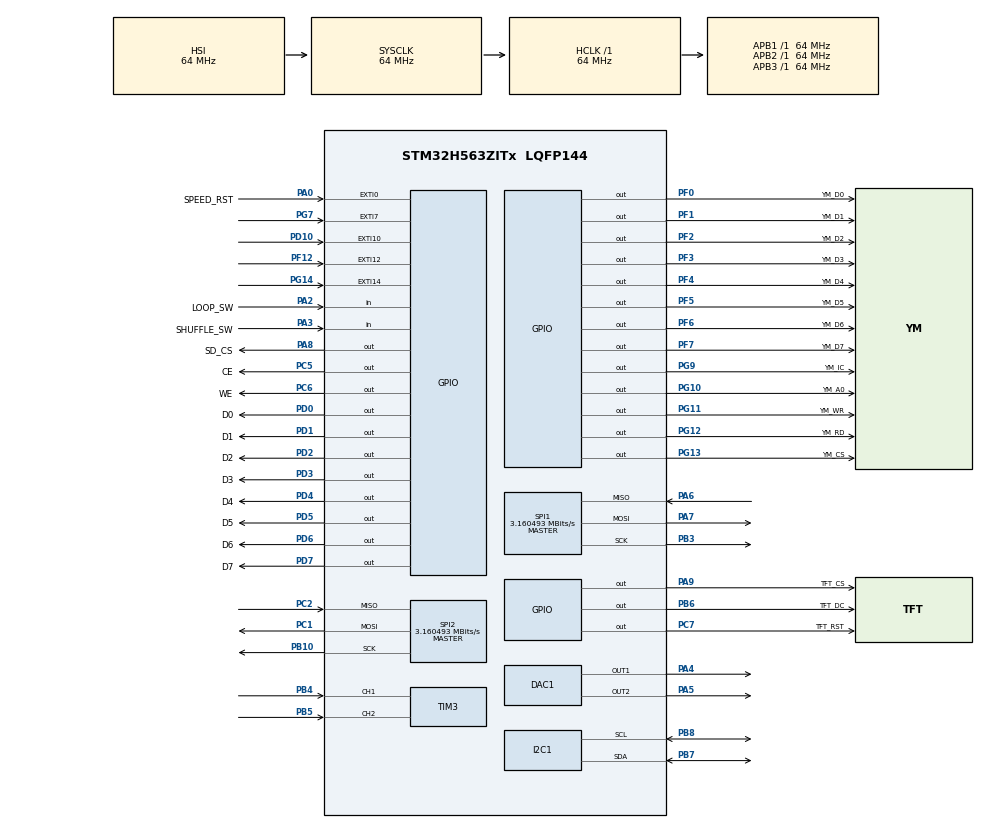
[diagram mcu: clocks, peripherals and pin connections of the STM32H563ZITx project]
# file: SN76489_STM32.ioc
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BOOTPATH.BootPathName=LEGACY
BOOTPATH.UserSelectedBootPath=LEGACY
CORTEX_M33_NS.userName=CORTEX_M33
DAC1.DAC_Channel-DAC_OUT1=DAC_CHANNEL_1
DAC1.DAC_Channel-DAC_OUT2=DAC_CHANNEL_2
DAC1.DAC_DMADoubleDataMode-DAC_OUT1=DISABLE
DAC1.DAC_Trigger-DAC_OUT1=DAC_TRIGGER_T4_TRGO
DAC1.DAC_Trigger-DAC_OUT2=DAC_TRIGGER_T4_TRGO
I2C1.Timing=0x10707DBC
Mcu.Family=STM32H5
Mcu.Name=STM32H563ZITx
Mcu.Package=LQFP144
NVIC.EXTI0_IRQn=true\:0\:0\:false\:false\:true\:true\:true\:true
NVIC.EXTI10_IRQn=true\:0\:0\:false\:false\:true\:true\:true\:true
NVIC.EXTI12_IRQn=true\:0\:0\:false\:false\:true\:true\:true\:true
NVIC.EXTI14_IRQn=true\:0\:0\:false\:false\:true\:true\:true\:true
NVIC.EXTI7_IRQn=true\:0\:0\:false\:false\:true\:true\:true\:true
NVIC.PriorityGroup=NVIC_PRIORITYGROUP_4
NVIC.TIM2_IRQn=true\:0\:0\:false\:false\:true\:true\:true\:true
NVIC.TIM4_IRQn=true\:0\:0\:false\:false\:true\:true\:true\:true
PA0.GPIO_Label=SPEED_RST
PA0.GPIO_ModeDefaultEXTI=GPIO_MODE_IT_FALLING
PA0.GPIO_PuPd=GPIO_PULLUP
PA0.Signal=GPXTI0
PA2.GPIO_Label=LOOP_SW
PA2.GPIO_PuPd=GPIO_PULLUP
PA2.Signal=GPIO_Input
PA3.GPIO_Label=SHUFFLE_SW
PA3.GPIO_PuPd=GPIO_PULLUP
PA3.Signal=GPIO_Input
PA4.Signal=COMP_DAC11_group
PA5.Signal=COMP_DAC12_group
PA6.Mode=Full_Duplex_Master
PA6.Signal=SPI1_MISO
PA7.Mode=Full_Duplex_Master
PA7.Signal=SPI1_MOSI
PA8.GPIO_Label=SD_CS
PA8.Signal=GPIO_Output
PA9.GPIO_Label=TFT_CS
PA9.Signal=GPIO_Output
PB10.Mode=Full_Duplex_Master
PB10.Signal=SPI2_SCK
PB3(JTDO/TRACESWO).Mode=Full_Duplex_Master
PB3(JTDO/TRACESWO).Signal=SPI1_SCK
PB4(NJTRST).Signal=S_TIM3_CH1
PB5.Signal=S_TIM3_CH2
PB6.GPIO_Label=TFT_DC
PB6.Signal=GPIO_Output
PB7.Mode=I2C
PB7.Signal=I2C1_SDA
PB8.Mode=I2C
PB8.Signal=I2C1_SCL
PC1.Mode=Full_Duplex_Master
PC1.Signal=SPI2_MOSI
PC2.Mode=Full_Duplex_Master
PC2.Signal=SPI2_MISO
PC5.GPIO_Label=CE
PC5.GPIO_Speed=GPIO_SPEED_FREQ_VERY_HIGH
PC5.Signal=GPIO_Output
PC6.GPIO_Label=WE
PC6.GPIO_Speed=GPIO_SPEED_FREQ_VERY_HIGH
PC6.Signal=GPIO_Output
PC7.GPIO_Label=TFT_RST
PC7.Signal=GPIO_Output
PD0.GPIO_Label=D0
PD0.GPIO_Speed=GPIO_SPEED_FREQ_VERY_HIGH
PD0.PinState=GPIO_PIN_RESET
PD0.Signal=GPIO_Output
PD1.GPIO_Label=D1
PD1.GPIO_Speed=GPIO_SPEED_FREQ_VERY_HIGH
PD1.Signal=GPIO_Output
PD10.GPIO_ModeDefaultEXTI=GPIO_MODE_IT_FALLING
PD10.GPIO_PuPd=GPIO_PULLUP
PD10.Signal=GPXTI10
PD2.GPIO_Label=D2
PD2.GPIO_Speed=GPIO_SPEED_FREQ_VERY_HIGH
PD2.Signal=GPIO_Output
PD3.GPIO_Label=D3
PD3.GPIO_Speed=GPIO_SPEED_FREQ_VERY_HIGH
PD3.Signal=GPIO_Output
PD4.GPIO_Label=D4
PD4.GPIO_Speed=GPIO_SPEED_FREQ_VERY_HIGH
PD4.Signal=GPIO_Output
PD5.GPIO_Label=D5
PD5.GPIO_Speed=GPIO_SPEED_FREQ_VERY_HIGH
PD5.Signal=GPIO_Output
PD6.GPIO_Label=D6
PD6.GPIO_Speed=GPIO_SPEED_FREQ_VERY_HIGH
PD6.Signal=GPIO_Output
PD7.GPIO_Label=D7
PD7.GPIO_Speed=GPIO_SPEED_FREQ_VERY_HIGH
PD7.Signal=GPIO_Output
PF0.GPIO_Label=YM_D0
PF0.Signal=GPIO_Output
PF1.GPIO_Label=YM_D1
PF1.Signal=GPIO_Output
PF12.GPIO_ModeDefaultEXTI=GPIO_MODE_IT_FALLING
PF12.GPIO_PuPd=GPIO_PULLUP
PF12.Signal=GPXTI12
PF2.GPIO_Label=YM_D2
PF2.Signal=GPIO_Output
PF3.GPIO_Label=YM_D3
PF3.Signal=GPIO_Output
PF4.GPIO_Label=YM_D4
PF4.Signal=GPIO_Output
PF5.GPIO_Label=YM_D5
PF5.Signal=GPIO_Output
PF6.GPIO_Label=YM_D6
PF6.Signal=GPIO_Output
PF7.GPIO_Label=YM_D7
PF7.Signal=GPIO_Output
PG10.GPIO_Label=YM_A0
PG10.Signal=GPIO_Output
PG11.GPIO_Label=YM_WR
PG11.Signal=GPIO_Output
PG12.GPIO_Label=YM_RD
PG12.Signal=GPIO_Output
PG13.GPIO_Label=YM_CS
PG13.Signal=GPIO_Output
PG14.GPIO_ModeDefaultEXTI=GPIO_MODE_IT_FALLING
PG14.GPIO_PuPd=GPIO_PULLUP
PG14.Signal=GPXTI14
PG7.GPIO_ModeDefaultEXTI=GPIO_MODE_IT_FALLING
PG7.GPIO_PuPd=GPIO_PULLUP
PG7.Signal=GPXTI7
PG9.GPIO_Label=YM_IC
PG9.Signal=GPIO_Output
PH0-OSC_IN(PH0).Mode=HSE-External-Oscillator
PH0-OSC_IN(PH0).Signal=RCC_OSC_IN
PH1-OSC_OUT(PH1).Mode=HSE-External-Oscillator
PH1-OSC_OUT(PH1).Signal=RCC_OSC_OUT
ProjectManager.HeapSize=0x200
ProjectManager.StackSize=0x400
ProjectManager.TargetToolchain=STM32CubeIDE
RCC.ADCFreq_Value=64000000
RCC.AHBFreq_Value=64000000
RCC.APB1Freq_Value=64000000
RCC.APB1TimFreq_Value=64000000
RCC.APB2Freq_Value=64000000
RCC.APB2TimFreq_Value=64000000
RCC.APB3Freq_Value=64000000
RCC.CSI_VALUE=4000000
RCC.CortexFreq_Value=64000000
RCC.DACLowPowerCLockSelection=RCC_DACLPCLKSOURCE_LSI
RCC.EPOD_VALUE=50000000
RCC.HCLKFreq_Value=64000000
RCC.HSE_VALUE=50000000
RCC.HSI48_VALUE=48000000
RCC.HSIDiv=RCC_HSI_DIV1
RCC.HSI_VALUE=64000000
RCC.LSE_VALUE=32768
RCC.LSIRC_VALUE=32000
RCC.PLL1P=4
RCC.PLL2FRACN=0
RCC.PLL2M=4
RCC.PLL2N=32
RCC.PLL2P=81
RCC.PLL2Source=RCC_PLL2_SOURCE_HSI
RCC.PLL3FRACN=0
RCC.PLL3Source=RCC_PLL3_SOURCE_HSE
RCC.PLLFRACN=917
RCC.PLLM=4
RCC.PLLN=14
RCC.PLLSourceVirtual=RCC_PLL1_SOURCE_HSE
RCC.SPI1CLockSelection=RCC_SPI1CLKSOURCE_PLL2P
RCC.SPI2CLockSelection=RCC_SPI2CLKSOURCE_PLL2P
RCC.SYSCLKFreq_VALUE=64000000
RCC.USBFreq_Value=48000000
RCC.VCOOutputFreq_Value=176399230.95703125
SH.COMP_DAC11_group.0=DAC1_OUT1,DAC_OUT1
SH.COMP_DAC12_group.0=DAC1_OUT2,DAC_OUT2
SH.S_TIM3_CH1.0=TIM3_CH1,Encoder_Interface
SH.S_TIM3_CH2.0=TIM3_CH2,Encoder_Interface
SPI1.BaudRatePrescaler=SPI_BAUDRATEPRESCALER_2
SPI1.CalculateBaudRate=3.160493 MBits/s
SPI1.DataSize=SPI_DATASIZE_8BIT
SPI1.Direction=SPI_DIRECTION_2LINES
SPI1.Mode=SPI_MODE_MASTER
SPI1.VirtualType=VM_MASTER
SPI2.BaudRatePrescaler=SPI_BAUDRATEPRESCALER_2
SPI2.CalculateBaudRate=3.160493 MBits/s
SPI2.DataSize=SPI_DATASIZE_8BIT
SPI2.Direction=SPI_DIRECTION_2LINES
SPI2.Mode=SPI_MODE_MASTER
SPI2.VirtualType=VM_MASTER
TIM2.AutoReloadPreload=TIM_AUTORELOAD_PRELOAD_ENABLE
TIM2.PeriodNoDither=1450
TIM2.Prescaler=0
TIM3.EncoderMode=TIM_ENCODERMODE_TI12
TIM3.IC1Filter=8
TIM4.PeriodNoDither=124
TIM4.Prescaler=63
TIM4.TIM_MasterOutputTrigger=TIM_TRGO_UPDATE
VP_BOOTPATH_VS_BOOTPATH.Mode=BP_Activate
VP_CORTEX_M33_NS_VS_Hclk.Mode=Hclk_Mode
VP_ICACHE_VS_ENABLE_ICACHE_MEMORY.Mode=Memoryregions
VP_ICACHE_VS_ICACHE.Mode=DirectMappedCache
VP_MEMORYMAP_VS_MEMORYMAP.Mode=CurAppReg
VP_PWR_VS_LPOM.Mode=PowerOptimisation
VP_PWR_VS_SECSignals.Mode=Security/Privilege
VP_TIM2_VS_ClockSourceINT.Mode=Internal
VP_TIM4_VS_ClockSourceINT.Mode=Internal
board=custom

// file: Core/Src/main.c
/* USER CODE BEGIN Header */
/**
  ******************************************************************************
  * @file           : main.c
  * @brief          : Main program body
  ******************************************************************************
  * @attention
  *
  * Copyright (c) 2025 STMicroelectronics.
  * All rights reserved.
  *
  * This software is licensed under terms that can be found in the LICENSE file
  * in the root directory of this software component.
  * If no LICENSE file comes with this software, it is provided AS-IS.
  *
  ******************************************************************************
  */
/* USER CODE END Header */
#include "main.h"

/* USER CODE BEGIN Includes */
#include <stdlib.h>
#include <math.h>
#include <string.h>

#include "SN76489.h"
#include "YM2151.h"
#include "vgm.h"
#include "msm6295.h"
#include "sd_spi.h"
#include "fat32.h"
#include "ILI9341.h"
#include "SI5351.h"
#include "ui.h"
#include "shuffle.h"
#include "storage.h"
/* USER CODE END Includes */

DAC_HandleTypeDef hdac1;

I2C_HandleTypeDef hi2c1;

SPI_HandleTypeDef hspi1;
SPI_HandleTypeDef hspi2;

TIM_HandleTypeDef htim2;
TIM_HandleTypeDef htim3;
TIM_HandleTypeDef htim4;

/* USER CODE BEGIN PV */
SD_Status   sd_status;
int         fat_status;
FAT32_File  vgm_file;
char        vgm_filename[13]; /* e.g. "BALROG.VGM\0" */
int         vgm_valid;

uint8_t solo1;
uint8_t solo2;
uint8_t solo3;
uint8_t solo4;
uint8_t solo5;

extern const uint8_t vgm_data_start[];
extern const uint8_t vgm_data_end[];
/* USER CODE END PV */

void SystemClock_Config(void);
void PeriphCommonClock_Config(void);
static void MX_GPIO_Init(void);
static void MX_ICACHE_Init(void);
static void MX_TIM2_Init(void);
static void MX_DAC1_Init(void);
static void MX_TIM4_Init(void);
static void MX_SPI1_Init(void);
static void MX_SPI2_Init(void);
static void MX_I2C1_Init(void);
static void MX_TIM3_Init(void);

/* USER CODE BEGIN 0 */
float noteDurationMelody = 0.0;
float noteDurationMelody2 = 0.0;
float noteDurationBass = 0.0;
float drumDuration = 0.0;

uint8_t PitchData[5];

uint32_t PitchSquare1;
uint32_t PitchSquare2;
uint32_t PitchTriangle;
uint32_t PitchSawtooth;
uint32_t PitchDrum;

uint8_t paused = 1;
extern volatile uint16_t wait_samples;
extern volatile uint8_t timerRunning;
extern volatile uint8_t list_button;
extern volatile uint8_t speed_reset_button;

volatile int8_t song_change = 0;
int current_song_index = 8;

/* For continuous navigation (typematic) while a nav button is held in the file list */
#define NAV_REPEAT_DELAY_MS    400
#define NAV_REPEAT_INTERVAL_MS 120
static uint32_t nav_hold_start  = 0;
static uint32_t nav_last_repeat = 0;
static int8_t   nav_hold_dir    = 0;

/* Playback speed via rotary encoder (TIM3, X4 quadrature). TIM2's period is
   changed inversely proportional to speed: VGM_Update() is called more/less
   often, so the song content plays faster/slower in real time (without
   changing pitch). */
#define TIM2_BASE_PERIOD        1450U
#define PLAYBACK_SPEED_MIN      0.5f
#define PLAYBACK_SPEED_MAX      2.0f
#define PLAYBACK_SPEED_STEP     0.05f
#define ENCODER_COUNTS_PER_STEP 4
float          playback_speed = 1.0f;
static uint16_t last_encoder_count = 0;

float round_to(float value, float step) {
    return round(value / step) * step;
}

/* USER CODE END 0 */

int main(void)
{

  /* MCU Configuration--------------------------------------------------------*/

  /* Reset of all peripherals, Initializes the Flash interface and the Systick. */
  HAL_Init();

  /* Configure the system clock */
  SystemClock_Config();

  /* Configure the peripherals common clocks */
  PeriphCommonClock_Config();

  /* Initialize all configured peripherals */
  MX_GPIO_Init();
  MX_ICACHE_Init();
  MX_TIM2_Init();
  MX_DAC1_Init();
  MX_TIM4_Init();
  MX_SPI1_Init();
  MX_SPI2_Init();
  MX_I2C1_Init();
  MX_TIM3_Init();
  /* USER CODE BEGIN 2 */

  /* NOTE: When I2C1 (or another chosen I2C peripheral) is enabled in CubeMX
     and the code is regenerated, an MX_I2C1_Init(); call will be added next
     to the MX_SPI2_Init() line above - make sure that line is called BEFORE
     this point, otherwise hi2c1 will not be initialized yet. */
  SI5351_Init();

  ILI9341_Init();
  UI_Init();

  /* Use the last song index stored in flash if present, otherwise fall
     back to the factory default (8). */
  Storage_Init();
  current_song_index = Storage_GetLastSongIndex();

  sd_status  = SD_Init();
  fat_status = FAT32_Init();
  if (fat_status == 0) {
      fat_status = FAT32_FindFileByIndex(current_song_index, &vgm_file, vgm_filename);
      if (fat_status == 0) {
          vgm_valid = VGM_LoadFromSD(&vgm_file);
      }
  }

  /* If loaded from SD, the SD data has already been copied into the RAM
     buffer inside vgm.c. VGM_ParseHeader(NULL) uses that buffer; passing a
     different pointer would use that instead.
     Program the clocks into the SI5351 FIRST (inside VGM_ParseHeader), THEN
     do the chip resets - otherwise if the first song doesn't use YM2151
     (SI5351 output still disabled/uninitialized), the Init() writes would
     happen without a clock. */
  VGM_ParseHeader(NULL);
  YM2151_Init();
  SN76489_Init();
  VGM_Init();
  /* YM2151_Init sets all PAN registers to 0x00 (L=0, R=0 = silent).
     Open the output of all channels before VGM playback starts; VGM will
     overwrite these with its own values.
     But if this song doesn't use YM2151 (clock=0), don't unmute so it
     stays silent. */
  if (VGM_IsYM2151Active())
      YM_System_All_Unmute();
  if (VGM_IsSN76489Active())
      SN76489_UnmuteAll();
  /* Enable the TIM2 VGM timing interrupt (TIM2 > GPDMA priority) */
  HAL_NVIC_SetPriority(TIM2_IRQn, 1, 0);
  HAL_TIM_Base_Start_IT(&htim2);

  HAL_DAC_Start(&hdac1, DAC_CHANNEL_1);
  HAL_TIM_Base_Start_IT(&htim4);

  /* Speed control encoder (PB4/PB5) */
  HAL_TIM_Encoder_Start(&htim3, TIM_CHANNEL_ALL);
  last_encoder_count = (uint16_t)__HAL_TIM_GET_COUNTER(&htim3);

  /* USER CODE END 2 */

  /* Infinite loop */
  /* USER CODE BEGIN WHILE */
  while (1)
  {
	  UI_Update();

	  // Speed control encoder (TIM3, X4 quadrature - 4 counts = 1 detent)
	  {
		  uint16_t enc_now   = (uint16_t)__HAL_TIM_GET_COUNTER(&htim3);
		  int16_t  enc_delta = (int16_t)(enc_now - last_encoder_count);

		  if (enc_delta >= ENCODER_COUNTS_PER_STEP || enc_delta <= -ENCODER_COUNTS_PER_STEP) {
			  int steps = enc_delta / ENCODER_COUNTS_PER_STEP;
			  last_encoder_count = (uint16_t)(enc_now - (enc_delta % ENCODER_COUNTS_PER_STEP));

			  if (UI_GetMode() == UI_MODE_FILE_LIST) {
				  /* In list mode the encoder changes role: instead of speed,
				     it pages through the list (LIST_VISIBLE files at a time). */
				  int8_t page_dir = (steps > 0) ? 1 : -1;
				  int    n        = (steps > 0) ? steps : -steps;
				  for (int i = 0; i < n; i++)
					  UI_MoveCursorByPage(page_dir);
			  } else {
				  playback_speed += steps * PLAYBACK_SPEED_STEP;
				  if (playback_speed < PLAYBACK_SPEED_MIN) playback_speed = PLAYBACK_SPEED_MIN;
				  if (playback_speed > PLAYBACK_SPEED_MAX) playback_speed = PLAYBACK_SPEED_MAX;

				  uint32_t new_period = (uint32_t)(TIM2_BASE_PERIOD / playback_speed + 0.5f);
				  __HAL_TIM_SET_AUTORELOAD(&htim2, new_period);
			  }
		  }
	  }

	  // Speed reset button (PA0/SPEED_RST, EXTI0) - resets playback speed to 1.0x
	  if(speed_reset_button){
		  speed_reset_button = 0;
		  playback_speed = 1.0f;
		  __HAL_TIM_SET_AUTORELOAD(&htim2, TIM2_BASE_PERIOD);
	  }

	  // Loop ON/OFF switch (PA2, persistent state - polled every loop iteration)
	  VGM_SetLoopMode(HAL_GPIO_ReadPin(LOOP_SW_GPIO_Port, LOOP_SW_Pin) == GPIO_PIN_RESET);

	  // Shuffle ON/OFF switch (PA3, persistent state - polled every loop iteration).
	  // Shuffle_SetEnabled internally handles the OFF->ON transition and building the bag.
	  Shuffle_SetEnabled(HAL_GPIO_ReadPin(SHUFFLE_SW_GPIO_Port, SHUFFLE_SW_Pin) == GPIO_PIN_RESET,
	                      current_song_index);

	  // Pause / Resume (EXTI14)
	  if(timerRunning)
	  {
		if(paused){
			if (VGM_IsYM2151Active())
				YM_System_All_Unmute();
			if (VGM_IsSN76489Active())
				SN76489_UnmuteAll();
		  	HAL_TIM_Base_Start_IT(&htim2);
			paused = 0;
		}
	  }
	  else
	  {
		 if(!paused){
			HAL_TIM_Base_Stop_IT(&htim2);
			YM_System_All_Mute();
			SN76489_MuteAll();
		  	paused = 1;
		 }
	  }

	  // File list <-> Now Playing transition / selection confirm (EXTI7)
	  if(list_button){
		  list_button = 0;
		  if(UI_GetMode() == UI_MODE_NOW_PLAYING){
			  UI_EnterFileList(current_song_index);
		  } else {
			  int selected = UI_GetSelectedIndex();
			  UI_ExitFileList();
			  song_change = (int8_t)(selected - current_song_index);
		  }
	  }

	  // If loop is off and the song finished naturally, auto-advance to the next song
	  // (don't consume the flag while in list mode, so we don't move the cursor by accident)
	  if(UI_GetMode() != UI_MODE_FILE_LIST && VGM_TrackFinished()){
		  song_change = 1;
	  }

	  // Song change / list navigation (EXTI12 / EXTI10)
	  if(song_change != 0){
		  if(UI_GetMode() == UI_MODE_FILE_LIST){
			  UI_MoveCursor(song_change);
			  song_change = 0;
		  } else {
		  HAL_TIM_Base_Stop_IT(&htim2);
		  YM_System_All_Mute();
		  SN76489_MuteAll();

		  int step = song_change;
		  song_change = 0;

		  if(Shuffle_IsEnabled() && (step == 1 || step == -1)){
			  /* Advancing directly via button/auto-advance: continue from the shuffle bag */
			  current_song_index = (step > 0) ? Shuffle_Next() : Shuffle_Prev();
		  } else {
			  /* Manual selection from the file list (delta not 1) or shuffle off */
			  current_song_index += step;

			  if(current_song_index < 0){
				  int last = FAT32_CountFiles() - 1;
				  current_song_index = (last < 0) ? 0 : last; /* wrapped past the start: jump to the end */
			  } else {
				  FAT32_File probe;
				  char probe_name[13];
				  if(FAT32_FindFileByIndex((uint32_t)current_song_index, &probe, probe_name) != 0)
					  current_song_index = 0; /* end of the list: wrap to the start */
			  }

			  if(Shuffle_IsEnabled())
				  Shuffle_Reseed(current_song_index); /* manual selection: continue the bag from this song */
		  }

		  Storage_SaveLastSongIndex(current_song_index);

		  if(FAT32_FindFileByIndex(current_song_index, &vgm_file, vgm_filename) == 0){
			  vgm_valid = VGM_LoadFromSD(&vgm_file);
		  }
		  /* Program the new song's clock into the SI5351 FIRST (inside
		     VGM_ParseHeader), THEN do the chip resets - otherwise if a chip
		     was disabled in the previous song (SI5351 output disabled), these
		     Init() writes would happen without a clock/invalid. */
		  VGM_ParseHeader(NULL);
		  YM2151_Init();
		  SN76489_Init();
		  VGM_Init();

		  if(!paused){
			  if (VGM_IsYM2151Active())
				  YM_System_All_Unmute();
			  if (VGM_IsSN76489Active())
				  SN76489_UnmuteAll();
			  HAL_TIM_Base_Start_IT(&htim2);
		  }
		  }
	  }

	  // Continuous navigation while a nav button is held in the file list
	  if(UI_GetMode() == UI_MODE_FILE_LIST){
		  uint8_t next_held = (HAL_GPIO_ReadPin(GPIOD, GPIO_PIN_10) == GPIO_PIN_RESET);
		  uint8_t prev_held = (HAL_GPIO_ReadPin(GPIOF, GPIO_PIN_12) == GPIO_PIN_RESET);
		  int8_t  held_dir  = next_held ? 1 : (prev_held ? -1 : 0);
		  uint32_t now = HAL_GetTick();

		  if(held_dir == 0){
			  nav_hold_dir = 0;
		  } else if(held_dir != nav_hold_dir){
			  nav_hold_dir    = held_dir;
			  nav_hold_start  = now;
			  nav_last_repeat = now;
		  } else if(now - nav_hold_start >= NAV_REPEAT_DELAY_MS &&
		            now - nav_last_repeat >= NAV_REPEAT_INTERVAL_MS){
			  UI_MoveCursor(held_dir);
			  nav_last_repeat = now;
		  }
	  } else {
		  nav_hold_dir = 0;
	  }
	  /*solo1 = !(HAL_GPIO_ReadPin(GPIOF, GPIO_PIN_7) | HAL_GPIO_ReadPin(GPIOF, GPIO_PIN_8)| HAL_GPIO_ReadPin(GPIOF, GPIO_PIN_9)| HAL_GPIO_ReadPin(GPIOF, GPIO_PIN_5)) | HAL_GPIO_ReadPin(GPIOF, GPIO_PIN_6);
	  solo2 = !(HAL_GPIO_ReadPin(GPIOF, GPIO_PIN_6) | HAL_GPIO_ReadPin(GPIOF, GPIO_PIN_8)| HAL_GPIO_ReadPin(GPIOF, GPIO_PIN_9)| HAL_GPIO_ReadPin(GPIOF, GPIO_PIN_5)) | HAL_GPIO_ReadPin(GPIOF, GPIO_PIN_7);
	  solo3 = !(HAL_GPIO_ReadPin(GPIOF, GPIO_PIN_6) | HAL_GPIO_ReadPin(GPIOF, GPIO_PIN_7)| HAL_GPIO_ReadPin(GPIOF, GPIO_PIN_9)| HAL_GPIO_ReadPin(GPIOF, GPIO_PIN_5)) | HAL_GPIO_ReadPin(GPIOF, GPIO_PIN_8);
	  solo4 = !(HAL_GPIO_ReadPin(GPIOF, GPIO_PIN_6) | HAL_GPIO_ReadPin(GPIOF, GPIO_PIN_7)| HAL_GPIO_ReadPin(GPIOF, GPIO_PIN_8)| HAL_GPIO_ReadPin(GPIOF, GPIO_PIN_5)) | HAL_GPIO_ReadPin(GPIOF, GPIO_PIN_9);
	  solo5 = !(HAL_GPIO_ReadPin(GPIOF, GPIO_PIN_6) | HAL_GPIO_ReadPin(GPIOF, GPIO_PIN_7)| HAL_GPIO_ReadPin(GPIOF, GPIO_PIN_8)| HAL_GPIO_ReadPin(GPIOF, GPIO_PIN_9)) | HAL_GPIO_ReadPin(GPIOF, GPIO_PIN_5);*/
    /* USER CODE END WHILE */

  }
}

void SystemClock_Config(void)
{
  RCC_OscInitTypeDef RCC_OscInitStruct = {0};
  RCC_ClkInitTypeDef RCC_ClkInitStruct = {0};

  /** Configure the main internal regulator output voltage
  */
  __HAL_PWR_VOLTAGESCALING_CONFIG(PWR_REGULATOR_VOLTAGE_SCALE3);

  while(!__HAL_PWR_GET_FLAG(PWR_FLAG_VOSRDY)) {}

  /** Initializes the RCC Oscillators according to the specified parameters
  * in the RCC_OscInitTypeDef structure.
  */
  RCC_OscInitStruct.OscillatorType = RCC_OSCILLATORTYPE_HSI|RCC_OSCILLATORTYPE_LSI;
  RCC_OscInitStruct.HSIState = RCC_HSI_ON;
  RCC_OscInitStruct.HSIDiv = RCC_HSI_DIV1;
  RCC_OscInitStruct.HSICalibrationValue = RCC_HSICALIBRATION_DEFAULT;
  RCC_OscInitStruct.LSIState = RCC_LSI_ON;
  RCC_OscInitStruct.PLL.PLLState = RCC_PLL_NONE;
  if (HAL_RCC_OscConfig(&RCC_OscInitStruct) != HAL_OK)
  {
    Error_Handler();
  }

  /** Initializes the CPU, AHB and APB buses clocks
  */
  RCC_ClkInitStruct.ClockType = RCC_CLOCKTYPE_HCLK|RCC_CLOCKTYPE_SYSCLK
                              |RCC_CLOCKTYPE_PCLK1|RCC_CLOCKTYPE_PCLK2
                              |RCC_CLOCKTYPE_PCLK3;
  RCC_ClkInitStruct.SYSCLKSource = RCC_SYSCLKSOURCE_HSI;
  RCC_ClkInitStruct.AHBCLKDivider = RCC_SYSCLK_DIV1;
  RCC_ClkInitStruct.APB1CLKDivider = RCC_HCLK_DIV1;
  RCC_ClkInitStruct.APB2CLKDivider = RCC_HCLK_DIV1;
  RCC_ClkInitStruct.APB3CLKDivider = RCC_HCLK_DIV1;

  if (HAL_RCC_ClockConfig(&RCC_ClkInitStruct, FLASH_LATENCY_3) != HAL_OK)
  {
    Error_Handler();
  }

  /** Configure the programming delay
  */
  __HAL_FLASH_SET_PROGRAM_DELAY(FLASH_PROGRAMMING_DELAY_1);
}

void PeriphCommonClock_Config(void)
{
  RCC_PeriphCLKInitTypeDef PeriphClkInitStruct = {0};

  /** Initializes the peripherals clock
  */
  PeriphClkInitStruct.PeriphClockSelection = RCC_PERIPHCLK_SPI1|RCC_PERIPHCLK_SPI2;
  PeriphClkInitStruct.PLL2.PLL2Source = RCC_PLL2_SOURCE_HSI;
  PeriphClkInitStruct.PLL2.PLL2M = 4;
  PeriphClkInitStruct.PLL2.PLL2N = 32;
  PeriphClkInitStruct.PLL2.PLL2P = 81;
  PeriphClkInitStruct.PLL2.PLL2Q = 2;
  PeriphClkInitStruct.PLL2.PLL2R = 2;
  PeriphClkInitStruct.PLL2.PLL2RGE = RCC_PLL2_VCIRANGE_3;
  PeriphClkInitStruct.PLL2.PLL2VCOSEL = RCC_PLL2_VCORANGE_WIDE;
  PeriphClkInitStruct.PLL2.PLL2FRACN = 0;
  PeriphClkInitStruct.PLL2.PLL2ClockOut = RCC_PLL2_DIVP;
  PeriphClkInitStruct.Spi1ClockSelection = RCC_SPI1CLKSOURCE_PLL2P;
  PeriphClkInitStruct.Spi2ClockSelection = RCC_SPI2CLKSOURCE_PLL2P;
  if (HAL_RCCEx_PeriphCLKConfig(&PeriphClkInitStruct) != HAL_OK)
  {
    Error_Handler();
  }
}

static void MX_DAC1_Init(void)
{

  DAC_ChannelConfTypeDef sConfig = {0};

  /** DAC Initialization
  */
  hdac1.Instance = DAC1;
  if (HAL_DAC_Init(&hdac1) != HAL_OK)
  {
    Error_Handler();
  }

  /** DAC channel OUT1 config
  */
  sConfig.DAC_HighFrequency = DAC_HIGH_FREQUENCY_INTERFACE_MODE_DISABLE;
  sConfig.DAC_DMADoubleDataMode = DISABLE;
  sConfig.DAC_SignedFormat = DISABLE;
  sConfig.DAC_SampleAndHold = DAC_SAMPLEANDHOLD_DISABLE;
  sConfig.DAC_Trigger = DAC_TRIGGER_T4_TRGO;
  sConfig.DAC_OutputBuffer = DAC_OUTPUTBUFFER_ENABLE;
  sConfig.DAC_ConnectOnChipPeripheral = DAC_CHIPCONNECT_EXTERNAL;
  sConfig.DAC_UserTrimming = DAC_TRIMMING_FACTORY;
  if (HAL_DAC_ConfigChannel(&hdac1, &sConfig, DAC_CHANNEL_1) != HAL_OK)
  {
    Error_Handler();
  }

  /** DAC channel OUT2 config
  */
  if (HAL_DAC_ConfigChannel(&hdac1, &sConfig, DAC_CHANNEL_2) != HAL_OK)
  {
    Error_Handler();
  }

}

static void MX_I2C1_Init(void)
{

  hi2c1.Instance = I2C1;
  hi2c1.Init.Timing = 0x10707DBC;
  hi2c1.Init.OwnAddress1 = 0;
  hi2c1.Init.AddressingMode = I2C_ADDRESSINGMODE_7BIT;
  hi2c1.Init.DualAddressMode = I2C_DUALADDRESS_DISABLE;
  hi2c1.Init.OwnAddress2 = 0;
  hi2c1.Init.OwnAddress2Masks = I2C_OA2_NOMASK;
  hi2c1.Init.GeneralCallMode = I2C_GENERALCALL_DISABLE;
  hi2c1.Init.NoStretchMode = I2C_NOSTRETCH_DISABLE;
  if (HAL_I2C_Init(&hi2c1) != HAL_OK)
  {
    Error_Handler();
  }

  /** Configure Analogue filter
  */
  if (HAL_I2CEx_ConfigAnalogFilter(&hi2c1, I2C_ANALOGFILTER_ENABLE) != HAL_OK)
  {
    Error_Handler();
  }

  /** Configure Digital filter
  */
  if (HAL_I2CEx_ConfigDigitalFilter(&hi2c1, 0) != HAL_OK)
  {
    Error_Handler();
  }

}

static void MX_ICACHE_Init(void)
{

  /** Enable instruction cache in 1-way (direct mapped cache)
  */
  if (HAL_ICACHE_ConfigAssociativityMode(ICACHE_1WAY) != HAL_OK)
  {
    Error_Handler();
  }
  if (HAL_ICACHE_Enable() != HAL_OK)
  {
    Error_Handler();
  }

}

static void MX_SPI1_Init(void)
{

  /* SPI1 parameter configuration*/
  hspi1.Instance = SPI1;
  hspi1.Init.Mode = SPI_MODE_MASTER;
  hspi1.Init.Direction = SPI_DIRECTION_2LINES;
  hspi1.Init.DataSize = SPI_DATASIZE_8BIT;
  hspi1.Init.CLKPolarity = SPI_POLARITY_LOW;
  hspi1.Init.CLKPhase = SPI_PHASE_1EDGE;
  hspi1.Init.NSS = SPI_NSS_SOFT;
  hspi1.Init.BaudRatePrescaler = SPI_BAUDRATEPRESCALER_2;
  hspi1.Init.FirstBit = SPI_FIRSTBIT_MSB;
  hspi1.Init.TIMode = SPI_TIMODE_DISABLE;
  hspi1.Init.CRCCalculation = SPI_CRCCALCULATION_DISABLE;
  hspi1.Init.CRCPolynomial = 0x7;
  hspi1.Init.NSSPMode = SPI_NSS_PULSE_ENABLE;
  hspi1.Init.NSSPolarity = SPI_NSS_POLARITY_LOW;
  hspi1.Init.FifoThreshold = SPI_FIFO_THRESHOLD_01DATA;
  hspi1.Init.MasterSSIdleness = SPI_MASTER_SS_IDLENESS_00CYCLE;
  hspi1.Init.MasterInterDataIdleness = SPI_MASTER_INTERDATA_IDLENESS_00CYCLE;
  hspi1.Init.MasterReceiverAutoSusp = SPI_MASTER_RX_AUTOSUSP_DISABLE;
  hspi1.Init.MasterKeepIOState = SPI_MASTER_KEEP_IO_STATE_DISABLE;
  hspi1.Init.IOSwap = SPI_IO_SWAP_DISABLE;
  hspi1.Init.ReadyMasterManagement = SPI_RDY_MASTER_MANAGEMENT_INTERNALLY;
  hspi1.Init.ReadyPolarity = SPI_RDY_POLARITY_HIGH;
  if (HAL_SPI_Init(&hspi1) != HAL_OK)
  {
    Error_Handler();
  }

}

static void MX_SPI2_Init(void)
{

  /* SPI2 parameter configuration*/
  hspi2.Instance = SPI2;
  hspi2.Init.Mode = SPI_MODE_MASTER;
  hspi2.Init.Direction = SPI_DIRECTION_2LINES;
  hspi2.Init.DataSize = SPI_DATASIZE_8BIT;
  hspi2.Init.CLKPolarity = SPI_POLARITY_LOW;
  hspi2.Init.CLKPhase = SPI_PHASE_1EDGE;
  hspi2.Init.NSS = SPI_NSS_SOFT;
  hspi2.Init.BaudRatePrescaler = SPI_BAUDRATEPRESCALER_2;
  hspi2.Init.FirstBit = SPI_FIRSTBIT_MSB;
  hspi2.Init.TIMode = SPI_TIMODE_DISABLE;
  hspi2.Init.CRCCalculation = SPI_CRCCALCULATION_DISABLE;
  hspi2.Init.CRCPolynomial = 0x7;
  hspi2.Init.NSSPMode = SPI_NSS_PULSE_ENABLE;
  hspi2.Init.NSSPolarity = SPI_NSS_POLARITY_LOW;
  hspi2.Init.FifoThreshold = SPI_FIFO_THRESHOLD_01DATA;
  hspi2.Init.MasterSSIdleness = SPI_MASTER_SS_IDLENESS_00CYCLE;
  hspi2.Init.MasterInterDataIdleness = SPI_MASTER_INTERDATA_IDLENESS_00CYCLE;
  hspi2.Init.MasterReceiverAutoSusp = SPI_MASTER_RX_AUTOSUSP_DISABLE;
  hspi2.Init.MasterKeepIOState = SPI_MASTER_KEEP_IO_STATE_DISABLE;
  hspi2.Init.IOSwap = SPI_IO_SWAP_DISABLE;
  hspi2.Init.ReadyMasterManagement = SPI_RDY_MASTER_MANAGEMENT_INTERNALLY;
  hspi2.Init.ReadyPolarity = SPI_RDY_POLARITY_HIGH;
  if (HAL_SPI_Init(&hspi2) != HAL_OK)
  {
    Error_Handler();
  }

}

static void MX_TIM2_Init(void)
{

  TIM_ClockConfigTypeDef sClockSourceConfig = {0};
  TIM_MasterConfigTypeDef sMasterConfig = {0};

  htim2.Instance = TIM2;
  htim2.Init.Prescaler = 0;
  htim2.Init.CounterMode = TIM_COUNTERMODE_UP;
  htim2.Init.Period = 1450;
  htim2.Init.ClockDivision = TIM_CLOCKDIVISION_DIV1;
  htim2.Init.AutoReloadPreload = TIM_AUTORELOAD_PRELOAD_ENABLE;
  if (HAL_TIM_Base_Init(&htim2) != HAL_OK)
  {
    Error_Handler();
  }
  sClockSourceConfig.ClockSource = TIM_CLOCKSOURCE_INTERNAL;
  if (HAL_TIM_ConfigClockSource(&htim2, &sClockSourceConfig) != HAL_OK)
  {
    Error_Handler();
  }
  sMasterConfig.MasterOutputTrigger = TIM_TRGO_RESET;
  sMasterConfig.MasterSlaveMode = TIM_MASTERSLAVEMODE_DISABLE;
  if (HAL_TIMEx_MasterConfigSynchronization(&htim2, &sMasterConfig) != HAL_OK)
  {
    Error_Handler();
  }

}

static void MX_TIM3_Init(void)
{

  TIM_Encoder_InitTypeDef sConfig = {0};
  TIM_MasterConfigTypeDef sMasterConfig = {0};

  htim3.Instance = TIM3;
  htim3.Init.Prescaler = 0;
  htim3.Init.CounterMode = TIM_COUNTERMODE_UP;
  htim3.Init.Period = 65535;
  htim3.Init.ClockDivision = TIM_CLOCKDIVISION_DIV1;
  htim3.Init.AutoReloadPreload = TIM_AUTORELOAD_PRELOAD_DISABLE;
  sConfig.EncoderMode = TIM_ENCODERMODE_TI12;
  sConfig.IC1Polarity = TIM_ICPOLARITY_RISING;
  sConfig.IC1Selection = TIM_ICSELECTION_DIRECTTI;
  sConfig.IC1Prescaler = TIM_ICPSC_DIV1;
  sConfig.IC1Filter = 8;
  sConfig.IC2Polarity = TIM_ICPOLARITY_RISING;
  sConfig.IC2Selection = TIM_ICSELECTION_DIRECTTI;
  sConfig.IC2Prescaler = TIM_ICPSC_DIV1;
  sConfig.IC2Filter = 0;
  if (HAL_TIM_Encoder_Init(&htim3, &sConfig) != HAL_OK)
  {
    Error_Handler();
  }
  sMasterConfig.MasterOutputTrigger = TIM_TRGO_RESET;
  sMasterConfig.MasterSlaveMode = TIM_MASTERSLAVEMODE_DISABLE;
  if (HAL_TIMEx_MasterConfigSynchronization(&htim3, &sMasterConfig) != HAL_OK)
  {
    Error_Handler();
  }

}

static void MX_TIM4_Init(void)
{

  TIM_ClockConfigTypeDef sClockSourceConfig = {0};
  TIM_MasterConfigTypeDef sMasterConfig = {0};

  htim4.Instance = TIM4;
  htim4.Init.Prescaler = 63;
  htim4.Init.CounterMode = TIM_COUNTERMODE_UP;
  htim4.Init.Period = 124;
  htim4.Init.ClockDivision = TIM_CLOCKDIVISION_DIV1;
  htim4.Init.AutoReloadPreload = TIM_AUTORELOAD_PRELOAD_DISABLE;
  if (HAL_TIM_Base_Init(&htim4) != HAL_OK)
  {
    Error_Handler();
  }
  sClockSourceConfig.ClockSource = TIM_CLOCKSOURCE_INTERNAL;
  if (HAL_TIM_ConfigClockSource(&htim4, &sClockSourceConfig) != HAL_OK)
  {
    Error_Handler();
  }
  sMasterConfig.MasterOutputTrigger = TIM_TRGO_UPDATE;
  sMasterConfig.MasterSlaveMode = TIM_MASTERSLAVEMODE_DISABLE;
  if (HAL_TIMEx_MasterConfigSynchronization(&htim4, &sMasterConfig) != HAL_OK)
  {
    Error_Handler();
  }

}

static void MX_GPIO_Init(void)
{
  GPIO_InitTypeDef GPIO_InitStruct = {0};

  /* GPIO Ports Clock Enable */
  __HAL_RCC_GPIOF_CLK_ENABLE();
  __HAL_RCC_GPIOH_CLK_ENABLE();
  __HAL_RCC_GPIOC_CLK_ENABLE();
  __HAL_RCC_GPIOA_CLK_ENABLE();
  __HAL_RCC_GPIOB_CLK_ENABLE();
  __HAL_RCC_GPIOD_CLK_ENABLE();
  __HAL_RCC_GPIOG_CLK_ENABLE();

  /*Configure GPIO pin Output Level */
  HAL_GPIO_WritePin(GPIOF, YM_D0_Pin|YM_D1_Pin|YM_D2_Pin|YM_D3_Pin
                          |YM_D4_Pin|YM_D5_Pin|YM_D6_Pin|YM_D7_Pin, GPIO_PIN_RESET);

  /*Configure GPIO pin Output Level */
  HAL_GPIO_WritePin(GPIOC, CE_Pin|WE_Pin|TFT_RST_Pin, GPIO_PIN_RESET);

  /*Configure GPIO pin Output Level */
  HAL_GPIO_WritePin(GPIOA, SD_CS_Pin|TFT_CS_Pin, GPIO_PIN_RESET);

  /*Configure GPIO pin Output Level */
  HAL_GPIO_WritePin(GPIOD, D0_Pin|D1_Pin|D2_Pin|D3_Pin
                          |D4_Pin|D5_Pin|D6_Pin|D7_Pin, GPIO_PIN_RESET);

  /*Configure GPIO pin Output Level */
  HAL_GPIO_WritePin(GPIOG, YM_IC_Pin|YM_A0_Pin|YM_WR_Pin|YM_RD_Pin
                          |YM_CS_Pin, GPIO_PIN_RESET);

  /*Configure GPIO pin Output Level */
  HAL_GPIO_WritePin(TFT_DC_GPIO_Port, TFT_DC_Pin, GPIO_PIN_RESET);

  /*Configure GPIO pins : YM_D0_Pin YM_D1_Pin YM_D2_Pin YM_D3_Pin
                           YM_D4_Pin YM_D5_Pin YM_D6_Pin YM_D7_Pin */
  GPIO_InitStruct.Pin = YM_D0_Pin|YM_D1_Pin|YM_D2_Pin|YM_D3_Pin
                          |YM_D4_Pin|YM_D5_Pin|YM_D6_Pin|YM_D7_Pin;
  GPIO_InitStruct.Mode = GPIO_MODE_OUTPUT_PP;
  GPIO_InitStruct.Pull = GPIO_NOPULL;
  GPIO_InitStruct.Speed = GPIO_SPEED_FREQ_LOW;
  HAL_GPIO_Init(GPIOF, &GPIO_InitStruct);

  /*Configure GPIO pin : SPEED_RST_Pin */
  GPIO_InitStruct.Pin = SPEED_RST_Pin;
  GPIO_InitStruct.Mode = GPIO_MODE_IT_FALLING;
  GPIO_InitStruct.Pull = GPIO_PULLUP;
  HAL_GPIO_Init(SPEED_RST_GPIO_Port, &GPIO_InitStruct);

  /*Configure GPIO pins : LOOP_SW_Pin SHUFFLE_SW_Pin */
  GPIO_InitStruct.Pin = LOOP_SW_Pin|SHUFFLE_SW_Pin;
  GPIO_InitStruct.Mode = GPIO_MODE_INPUT;
  GPIO_InitStruct.Pull = GPIO_PULLUP;
  HAL_GPIO_Init(GPIOA, &GPIO_InitStruct);

  /*Configure GPIO pins : CE_Pin WE_Pin */
  GPIO_InitStruct.Pin = CE_Pin|WE_Pin;
  GPIO_InitStruct.Mode = GPIO_MODE_OUTPUT_PP;
  GPIO_InitStruct.Pull = GPIO_NOPULL;
  GPIO_InitStruct.Speed = GPIO_SPEED_FREQ_VERY_HIGH;
  HAL_GPIO_Init(GPIOC, &GPIO_InitStruct);

  /*Configure GPIO pin : PF12 */
  GPIO_InitStruct.Pin = GPIO_PIN_12;
  GPIO_InitStruct.Mode = GPIO_MODE_IT_FALLING;
  GPIO_InitStruct.Pull = GPIO_PULLUP;
  HAL_GPIO_Init(GPIOF, &GPIO_InitStruct);

  /*Configure GPIO pin : PD10 */
  GPIO_InitStruct.Pin = GPIO_PIN_10;
  GPIO_InitStruct.Mode = GPIO_MODE_IT_FALLING;
  GPIO_InitStruct.Pull = GPIO_PULLUP;
  HAL_GPIO_Init(GPIOD, &GPIO_InitStruct);

  /*Configure GPIO pins : PG7 PG14 */
  GPIO_InitStruct.Pin = GPIO_PIN_7|GPIO_PIN_14;
  GPIO_InitStruct.Mode = GPIO_MODE_IT_FALLING;
  GPIO_InitStruct.Pull = GPIO_PULLUP;
  HAL_GPIO_Init(GPIOG, &GPIO_InitStruct);

  /*Configure GPIO pin : TFT_RST_Pin */
  GPIO_InitStruct.Pin = TFT_RST_Pin;
  GPIO_InitStruct.Mode = GPIO_MODE_OUTPUT_PP;
  GPIO_InitStruct.Pull = GPIO_NOPULL;
  GPIO_InitStruct.Speed = GPIO_SPEED_FREQ_LOW;
  HAL_GPIO_Init(TFT_RST_GPIO_Port, &GPIO_InitStruct);

  /*Configure GPIO pins : SD_CS_Pin TFT_CS_Pin */
  GPIO_InitStruct.Pin = SD_CS_Pin|TFT_CS_Pin;
  GPIO_InitStruct.Mode = GPIO_MODE_OUTPUT_PP;
  GPIO_InitStruct.Pull = GPIO_NOPULL;
  GPIO_InitStruct.Speed = GPIO_SPEED_FREQ_LOW;
  HAL_GPIO_Init(GPIOA, &GPIO_InitStruct);

  /*Configure GPIO pins : D0_Pin D1_Pin D2_Pin D3_Pin
                           D4_Pin D5_Pin D6_Pin D7_Pin */
  GPIO_InitStruct.Pin = D0_Pin|D1_Pin|D2_Pin|D3_Pin
                          |D4_Pin|D5_Pin|D6_Pin|D7_Pin;
  GPIO_InitStruct.Mode = GPIO_MODE_OUTPUT_PP;
  GPIO_InitStruct.Pull = GPIO_NOPULL;
  GPIO_InitStruct.Speed = GPIO_SPEED_FREQ_VERY_HIGH;
  HAL_GPIO_Init(GPIOD, &GPIO_InitStruct);

  /*Configure GPIO pins : YM_IC_Pin YM_A0_Pin YM_WR_Pin YM_RD_Pin
                           YM_CS_Pin */
  GPIO_InitStruct.Pin = YM_IC_Pin|YM_A0_Pin|YM_WR_Pin|YM_RD_Pin
                          |YM_CS_Pin;
  GPIO_InitStruct.Mode = GPIO_MODE_OUTPUT_PP;
  GPIO_InitStruct.Pull = GPIO_NOPULL;
  GPIO_InitStruct.Speed = GPIO_SPEED_FREQ_LOW;
  HAL_GPIO_Init(GPIOG, &GPIO_InitStruct);

  /*Configure GPIO pin : TFT_DC_Pin */
  GPIO_InitStruct.Pin = TFT_DC_Pin;
  GPIO_InitStruct.Mode = GPIO_MODE_OUTPUT_PP;
  GPIO_InitStruct.Pull = GPIO_NOPULL;
  GPIO_InitStruct.Speed = GPIO_SPEED_FREQ_LOW;
  HAL_GPIO_Init(TFT_DC_GPIO_Port, &GPIO_InitStruct);

  /* EXTI interrupt init*/
  HAL_NVIC_SetPriority(EXTI0_IRQn, 0, 0);
  HAL_NVIC_EnableIRQ(EXTI0_IRQn);

  HAL_NVIC_SetPriority(EXTI7_IRQn, 0, 0);
  HAL_NVIC_EnableIRQ(EXTI7_IRQn);

  HAL_NVIC_SetPriority(EXTI10_IRQn, 0, 0);
  HAL_NVIC_EnableIRQ(EXTI10_IRQn);

  HAL_NVIC_SetPriority(EXTI12_IRQn, 0, 0);
  HAL_NVIC_EnableIRQ(EXTI12_IRQn);

  HAL_NVIC_SetPriority(EXTI14_IRQn, 0, 0);
  HAL_NVIC_EnableIRQ(EXTI14_IRQn);

  /* USER CODE BEGIN MX_GPIO_Init_2 */
  /* Loop ON/OFF switch: persistent state, not an interrupt - polled in the main loop. */
  GPIO_InitStruct.Pin  = LOOP_SW_Pin;
  GPIO_InitStruct.Mode = GPIO_MODE_INPUT;
  GPIO_InitStruct.Pull = GPIO_PULLUP;
  HAL_GPIO_Init(LOOP_SW_GPIO_Port, &GPIO_InitStruct);

  /* Shuffle ON/OFF switch: likewise persistent state, polled. */
  GPIO_InitStruct.Pin  = SHUFFLE_SW_Pin;
  GPIO_InitStruct.Mode = GPIO_MODE_INPUT;
  GPIO_InitStruct.Pull = GPIO_PULLUP;
  HAL_GPIO_Init(SHUFFLE_SW_GPIO_Port, &GPIO_InitStruct);
  /* USER CODE END MX_GPIO_Init_2 */
}

void Error_Handler(void)
{
  __disable_irq();
  while (1)
  {
  }
}
